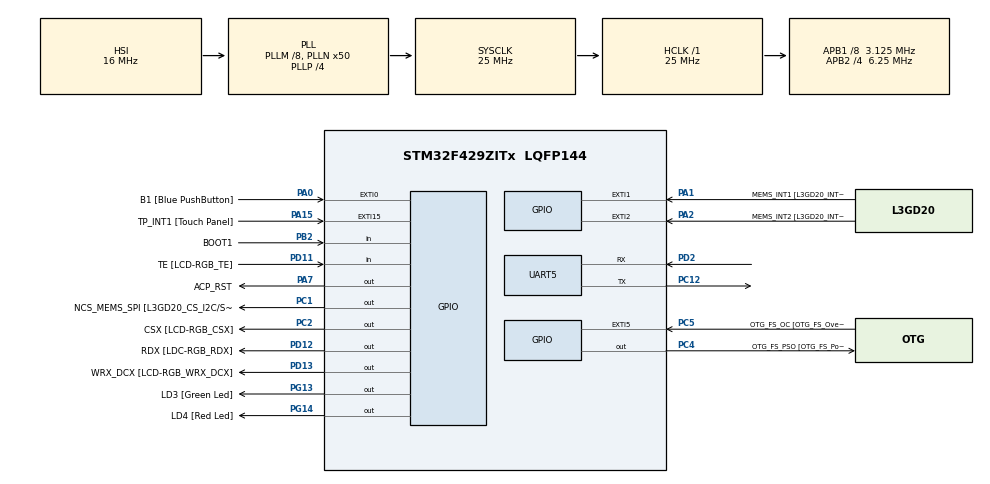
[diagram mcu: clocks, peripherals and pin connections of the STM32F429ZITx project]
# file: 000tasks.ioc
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Mcu.Family=STM32F4
Mcu.Name=STM32F429ZITx
Mcu.Package=LQFP144
NVIC.PriorityGroup=NVIC_PRIORITYGROUP_4
NVIC.TIM6_DAC_IRQn=true\:15\:0\:false\:false\:true\:false\:true\:true
NVIC.TimeBase=TIM6_DAC_IRQn
NVIC.TimeBaseIP=TIM6
NVIC.UART5_IRQn=true\:0\:0\:false\:false\:true\:true\:true\:true
PA0/WKUP.GPIO_Label=B1 [Blue PushButton]
PA0/WKUP.GPIO_ModeDefaultEXTI=GPIO_MODE_EVT_RISING
PA0/WKUP.GPIO_PuPd=GPIO_NOPULL
PA0/WKUP.Signal=GPXTI0
PA1.GPIO_Label=MEMS_INT1 [L3GD20_INT1]
PA1.GPIO_ModeDefaultEXTI=GPIO_MODE_EVT_RISING
PA1.GPIO_PuPd=GPIO_NOPULL
PA1.Signal=GPXTI1
PA10.GPIO_Label=STLINK_TX [STM32F103CBT6_PA2]
PA10.Signal=USART1_RX
PA11.GPIO_Label=R4
PA11.GPIO_Mode=GPIO_MODE_AF_PP
PA11.GPIO_PuPd=GPIO_NOPULL
PA11.GPIO_Speed=GPIO_SPEED_FREQ_LOW
PA11.Signal=LTDC_R4
PA12.GPIO_Label=R5
PA12.GPIO_Mode=GPIO_MODE_AF_PP
PA12.GPIO_PuPd=GPIO_NOPULL
PA12.GPIO_Speed=GPIO_SPEED_FREQ_LOW
PA12.Signal=LTDC_R5
PA13.GPIO_Label=SWDIO
PA13.Signal=SYS_JTMS-SWDIO
PA14.GPIO_Label=SWCLK
PA14.Signal=SYS_JTCK-SWCLK
PA15.GPIO_Label=TP_INT1 [Touch Panel]
PA15.GPIO_ModeDefaultEXTI=GPIO_MODE_EVT_RISING
PA15.GPIO_PuPd=GPIO_NOPULL
PA15.Signal=GPXTI15
PA2.GPIO_Label=MEMS_INT2 [L3GD20_INT2]
PA2.GPIO_ModeDefaultEXTI=GPIO_MODE_EVT_RISING
PA2.GPIO_PuPd=GPIO_NOPULL
PA2.Signal=GPXTI2
PA3.GPIO_Label=B5
PA3.GPIO_Mode=GPIO_MODE_AF_PP
PA3.GPIO_PuPd=GPIO_NOPULL
PA3.GPIO_Speed=GPIO_SPEED_FREQ_LOW
PA3.Signal=LTDC_B5
PA4.GPIO_Label=VSYNC
PA4.GPIO_Mode=GPIO_MODE_AF_PP
PA4.GPIO_PuPd=GPIO_NOPULL
PA4.GPIO_Speed=GPIO_SPEED_FREQ_LOW
PA4.Signal=LTDC_VSYNC
PA6.GPIO_Label=G2
PA6.GPIO_Mode=GPIO_MODE_AF_PP
PA6.GPIO_PuPd=GPIO_NOPULL
PA6.GPIO_Speed=GPIO_SPEED_FREQ_LOW
PA6.Signal=LTDC_G2
PA7.GPIO_Label=ACP_RST
PA7.GPIO_Mode=GPIO_MODE_OUTPUT_PP
PA7.GPIO_PuPd=GPIO_NOPULL
PA7.GPIO_Speed=GPIO_SPEED_FREQ_LOW
PA7.Signal=GPIO_Output
PA8.GPIO_Label=I2C3_SCL [ACP/RF_SCL]
PA8.GPIO_Mode=GPIO_MODE_AF_OD
PA8.GPIO_PuPd=GPIO_NOPULL
PA8.GPIO_Speed=GPIO_SPEED_FREQ_LOW
PA8.Signal=I2C3_SCL
PA9.GPIO_Label=STLINK_RX [STM32F103CBT6_PA3]
PA9.Signal=USART1_TX
PB0.GPIO_Label=R3
PB0.GPIO_Mode=GPIO_MODE_AF_PP
PB0.GPIO_PuPd=GPIO_NOPULL
PB0.GPIO_Speed=GPIO_SPEED_FREQ_LOW
PB0.Signal=LTDC_R3
PB1.GPIO_Label=R6
PB1.GPIO_Mode=GPIO_MODE_AF_PP
PB1.GPIO_PuPd=GPIO_NOPULL
PB1.GPIO_Speed=GPIO_SPEED_FREQ_LOW
PB1.Signal=LTDC_R6
PB10.GPIO_Label=G4
PB10.GPIO_Mode=GPIO_MODE_AF_PP
PB10.GPIO_PuPd=GPIO_NOPULL
PB10.GPIO_Speed=GPIO_SPEED_FREQ_LOW
PB10.Signal=LTDC_G4
PB11.GPIO_Label=G5
PB11.GPIO_Mode=GPIO_MODE_AF_PP
PB11.GPIO_PuPd=GPIO_NOPULL
PB11.GPIO_Speed=GPIO_SPEED_FREQ_LOW
PB11.Signal=LTDC_G5
PB12.GPIO_Label=OTG_HS_ID
PB12.GPIO_Mode=GPIO_MODE_AF_PP
PB12.GPIO_PuPd=GPIO_NOPULL
PB12.GPIO_Speed=GPIO_SPEED_FREQ_LOW
PB12.Signal=USB_OTG_HS_ID
PB13.GPIO_Label=VBUS_HS
PB13.GPIO_Mode=GPIO_MODE_INPUT
PB13.GPIO_PuPd=GPIO_NOPULL
PB13.Signal=USB_OTG_HS_VBUS
PB14.GPIO_Label=OTG_HS_DM
PB14.GPIO_Mode=GPIO_MODE_AF_PP
PB14.GPIO_PuPd=GPIO_NOPULL
PB14.GPIO_Speed=GPIO_SPEED_FREQ_LOW
PB14.Signal=USB_OTG_HS_DM
PB15.GPIO_Label=OTG_HS_DP
PB15.GPIO_Mode=GPIO_MODE_AF_PP
PB15.GPIO_PuPd=GPIO_NOPULL
PB15.GPIO_Speed=GPIO_SPEED_FREQ_LOW
PB15.Signal=USB_OTG_HS_DP
PB2/BOOT1.GPIO_Label=BOOT1
PB2/BOOT1.GPIO_Mode=GPIO_MODE_INPUT
PB2/BOOT1.GPIO_PuPd=GPIO_NOPULL
PB2/BOOT1.Signal=GPIO_Input
PB5.GPIO_Label=SDCKE1
PB5.GPIO_Mode=GPIO_MODE_AF_PP
PB5.GPIO_PuPd=GPIO_NOPULL
PB5.GPIO_Speed=GPIO_SPEED_FREQ_VERY_HIGH
PB5.Signal=FMC_SDCKE1
PB6.GPIO_Label=SDNE1 [SDRAM_CS]
PB6.GPIO_Mode=GPIO_MODE_AF_PP
PB6.GPIO_PuPd=GPIO_NOPULL
PB6.GPIO_Speed=GPIO_SPEED_FREQ_VERY_HIGH
PB6.Signal=FMC_SDNE1
PB8.GPIO_Label=B6
PB8.GPIO_Mode=GPIO_MODE_AF_PP
PB8.GPIO_PuPd=GPIO_NOPULL
PB8.GPIO_Speed=GPIO_SPEED_FREQ_LOW
PB8.Signal=LTDC_B6
PB9.GPIO_Label=B7
PB9.GPIO_Mode=GPIO_MODE_AF_PP
PB9.GPIO_PuPd=GPIO_NOPULL
PB9.GPIO_Speed=GPIO_SPEED_FREQ_LOW
PB9.Signal=LTDC_B7
PC0.GPIO_Label=SDNWE
PC0.GPIO_Mode=GPIO_MODE_AF_PP
PC0.GPIO_PuPd=GPIO_NOPULL
PC0.GPIO_Speed=GPIO_SPEED_FREQ_VERY_HIGH
PC0.Signal=FMC_SDNWE
PC1.GPIO_Label=NCS_MEMS_SPI [L3GD20_CS_I2C/SPI]
PC1.GPIO_Mode=GPIO_MODE_OUTPUT_PP
PC1.GPIO_PuPd=GPIO_NOPULL
PC1.GPIO_Speed=GPIO_SPEED_FREQ_LOW
PC1.Signal=GPIO_Output
PC10.GPIO_Label=R2
PC10.GPIO_Mode=GPIO_MODE_AF_PP
PC10.GPIO_PuPd=GPIO_NOPULL
PC10.GPIO_Speed=GPIO_SPEED_FREQ_LOW
PC10.Signal=LTDC_R2
PC12.Mode=Asynchronous
PC12.Signal=UART5_TX
PC14/OSC32_IN.GPIO_Label=PC14-OSC32_IN
PC14/OSC32_IN.Signal=RCC_OSC32_IN
PC15/OSC32_OUT.GPIO_Label=PC15-OSC32_OUT
PC15/OSC32_OUT.Signal=RCC_OSC32_OUT
PC2.GPIO_Label=CSX [LCD-RGB_CSX]
PC2.GPIO_Mode=GPIO_MODE_OUTPUT_PP
PC2.GPIO_PuPd=GPIO_NOPULL
PC2.GPIO_Speed=GPIO_SPEED_FREQ_LOW
PC2.Signal=GPIO_Output
PC4.GPIO_Label=OTG_FS_PSO [OTG_FS_PowerSwitchOn]
PC4.GPIO_Mode=GPIO_MODE_OUTPUT_PP
PC4.GPIO_PuPd=GPIO_NOPULL
PC4.GPIO_Speed=GPIO_SPEED_FREQ_LOW
PC4.Signal=GPIO_Output
PC5.GPIO_Label=OTG_FS_OC [OTG_FS_OverCurrent]
PC5.GPIO_ModeDefaultEXTI=GPIO_MODE_EVT_RISING
PC5.Signal=GPXTI5
PC6.GPIO_Label=HSYNC
PC6.GPIO_Mode=GPIO_MODE_AF_PP
PC6.GPIO_PuPd=GPIO_NOPULL
PC6.GPIO_Speed=GPIO_SPEED_FREQ_LOW
PC6.Signal=LTDC_HSYNC
PC7.GPIO_Label=G6
PC7.GPIO_Mode=GPIO_MODE_AF_PP
PC7.GPIO_PuPd=GPIO_NOPULL
PC7.GPIO_Speed=GPIO_SPEED_FREQ_LOW
PC7.Signal=LTDC_G6
PC9.GPIO_Label=I2C3_SDA [ACP/RF_SDA]
PC9.GPIO_Mode=GPIO_MODE_AF_OD
PC9.GPIO_PuPd=GPIO_NOPULL
PC9.GPIO_Speed=GPIO_SPEED_FREQ_LOW
PC9.Signal=I2C3_SDA
PD0.GPIO_Label=D2
PD0.GPIO_Mode=GPIO_MODE_AF_PP
PD0.GPIO_PuPd=GPIO_NOPULL
PD0.GPIO_Speed=GPIO_SPEED_FREQ_VERY_HIGH
PD0.Signal=FMC_D2_DA2
PD1.GPIO_Label=D3
PD1.GPIO_Mode=GPIO_MODE_AF_PP
PD1.GPIO_PuPd=GPIO_NOPULL
PD1.GPIO_Speed=GPIO_SPEED_FREQ_VERY_HIGH
PD1.Signal=FMC_D3_DA3
PD10.GPIO_Label=D15
PD10.GPIO_Mode=GPIO_MODE_AF_PP
PD10.GPIO_PuPd=GPIO_NOPULL
PD10.GPIO_Speed=GPIO_SPEED_FREQ_VERY_HIGH
PD10.Signal=FMC_D15_DA15
PD11.GPIO_Label=TE [LCD-RGB_TE]
PD11.GPIO_Mode=GPIO_MODE_INPUT
PD11.GPIO_PuPd=GPIO_NOPULL
PD11.Signal=GPIO_Input
PD12.GPIO_Label=RDX [LDC-RGB_RDX]
PD12.GPIO_Mode=GPIO_MODE_OUTPUT_PP
PD12.GPIO_PuPd=GPIO_NOPULL
PD12.GPIO_Speed=GPIO_SPEED_FREQ_LOW
PD12.Signal=GPIO_Output
PD13.GPIO_Label=WRX_DCX [LCD-RGB_WRX_DCX]
PD13.GPIO_Mode=GPIO_MODE_OUTPUT_PP
PD13.GPIO_PuPd=GPIO_NOPULL
PD13.GPIO_Speed=GPIO_SPEED_FREQ_LOW
PD13.Signal=GPIO_Output
PD14.GPIO_Label=D0
PD14.GPIO_Mode=GPIO_MODE_AF_PP
PD14.GPIO_PuPd=GPIO_NOPULL
PD14.GPIO_Speed=GPIO_SPEED_FREQ_VERY_HIGH
PD14.Signal=FMC_D0_DA0
PD15.GPIO_Label=D1
PD15.GPIO_Mode=GPIO_MODE_AF_PP
PD15.GPIO_PuPd=GPIO_NOPULL
PD15.GPIO_Speed=GPIO_SPEED_FREQ_VERY_HIGH
PD15.Signal=FMC_D1_DA1
PD2.Mode=Asynchronous
PD2.Signal=UART5_RX
PD3.GPIO_Label=G7
PD3.GPIO_Mode=GPIO_MODE_AF_PP
PD3.GPIO_PuPd=GPIO_NOPULL
PD3.GPIO_Speed=GPIO_SPEED_FREQ_LOW
PD3.Signal=LTDC_G7
PD6.GPIO_Label=B2
PD6.GPIO_Mode=GPIO_MODE_AF_PP
PD6.GPIO_PuPd=GPIO_NOPULL
PD6.GPIO_Speed=GPIO_SPEED_FREQ_LOW
PD6.Signal=LTDC_B2
PD8.GPIO_Label=D13
PD8.GPIO_Mode=GPIO_MODE_AF_PP
PD8.GPIO_PuPd=GPIO_NOPULL
PD8.GPIO_Speed=GPIO_SPEED_FREQ_VERY_HIGH
PD8.Signal=FMC_D13_DA13
PD9.GPIO_Label=D14
PD9.GPIO_Mode=GPIO_MODE_AF_PP
PD9.GPIO_PuPd=GPIO_NOPULL
PD9.GPIO_Speed=GPIO_SPEED_FREQ_VERY_HIGH
PD9.Signal=FMC_D14_DA14
PE0.GPIO_Label=NBL0 [SDRAM_LDQM]
PE0.GPIO_Mode=GPIO_MODE_AF_PP
PE0.GPIO_PuPd=GPIO_NOPULL
PE0.GPIO_Speed=GPIO_SPEED_FREQ_VERY_HIGH
PE0.Signal=FMC_NBL0
PE1.GPIO_Label=NBL1 [SDRAM_UDQM]
PE1.GPIO_Mode=GPIO_MODE_AF_PP
PE1.GPIO_PuPd=GPIO_NOPULL
PE1.GPIO_Speed=GPIO_SPEED_FREQ_VERY_HIGH
PE1.Signal=FMC_NBL1
PE10.GPIO_Label=D7
PE10.GPIO_Mode=GPIO_MODE_AF_PP
PE10.GPIO_PuPd=GPIO_NOPULL
PE10.GPIO_Speed=GPIO_SPEED_FREQ_VERY_HIGH
PE10.Signal=FMC_D7_DA7
PE11.GPIO_Label=D8
PE11.GPIO_Mode=GPIO_MODE_AF_PP
PE11.GPIO_PuPd=GPIO_NOPULL
PE11.GPIO_Speed=GPIO_SPEED_FREQ_VERY_HIGH
PE11.Signal=FMC_D8_DA8
PE12.GPIO_Label=D9
PE12.GPIO_Mode=GPIO_MODE_AF_PP
PE12.GPIO_PuPd=GPIO_NOPULL
PE12.GPIO_Speed=GPIO_SPEED_FREQ_VERY_HIGH
PE12.Signal=FMC_D9_DA9
PE13.GPIO_Label=D10
PE13.GPIO_Mode=GPIO_MODE_AF_PP
PE13.GPIO_PuPd=GPIO_NOPULL
PE13.GPIO_Speed=GPIO_SPEED_FREQ_VERY_HIGH
PE13.Signal=FMC_D10_DA10
PE14.GPIO_Label=D11
PE14.GPIO_Mode=GPIO_MODE_AF_PP
PE14.GPIO_PuPd=GPIO_NOPULL
PE14.GPIO_Speed=GPIO_SPEED_FREQ_VERY_HIGH
PE14.Signal=FMC_D11_DA11
PE15.GPIO_Label=D12
PE15.GPIO_Mode=GPIO_MODE_AF_PP
PE15.GPIO_PuPd=GPIO_NOPULL
PE15.GPIO_Speed=GPIO_SPEED_FREQ_VERY_HIGH
PE15.Signal=FMC_D12_DA12
PE7.GPIO_Label=D4
PE7.GPIO_Mode=GPIO_MODE_AF_PP
PE7.GPIO_PuPd=GPIO_NOPULL
PE7.GPIO_Speed=GPIO_SPEED_FREQ_VERY_HIGH
PE7.Signal=FMC_D4_DA4
PE8.GPIO_Label=D5
PE8.GPIO_Mode=GPIO_MODE_AF_PP
PE8.GPIO_PuPd=GPIO_NOPULL
PE8.GPIO_Speed=GPIO_SPEED_FREQ_VERY_HIGH
PE8.Signal=FMC_D5_DA5
PE9.GPIO_Label=D6
PE9.GPIO_Mode=GPIO_MODE_AF_PP
PE9.GPIO_PuPd=GPIO_NOPULL
PE9.GPIO_Speed=GPIO_SPEED_FREQ_VERY_HIGH
PE9.Signal=FMC_D6_DA6
PF0.GPIO_Label=A0
PF0.GPIO_Mode=GPIO_MODE_AF_PP
PF0.GPIO_PuPd=GPIO_NOPULL
PF0.GPIO_Speed=GPIO_SPEED_FREQ_VERY_HIGH
PF0.Signal=FMC_A0
PF1.GPIO_Label=A1
PF1.GPIO_Mode=GPIO_MODE_AF_PP
PF1.GPIO_PuPd=GPIO_NOPULL
PF1.GPIO_Speed=GPIO_SPEED_FREQ_VERY_HIGH
PF1.Signal=FMC_A1
PF10.GPIO_Label=ENABLE [LCD-RGB_ENABLE]
PF10.GPIO_Mode=GPIO_MODE_AF_PP
PF10.GPIO_PuPd=GPIO_NOPULL
PF10.GPIO_Speed=GPIO_SPEED_FREQ_LOW
PF10.Signal=LTDC_DE
PF11.GPIO_Label=SDNRAS
PF11.GPIO_Mode=GPIO_MODE_AF_PP
PF11.GPIO_PuPd=GPIO_NOPULL
PF11.GPIO_Speed=GPIO_SPEED_FREQ_VERY_HIGH
PF11.Signal=FMC_SDNRAS
PF12.GPIO_Label=A6
PF12.GPIO_Mode=GPIO_MODE_AF_PP
PF12.GPIO_PuPd=GPIO_NOPULL
PF12.GPIO_Speed=GPIO_SPEED_FREQ_VERY_HIGH
PF12.Signal=FMC_A6
PF13.GPIO_Label=A7
PF13.GPIO_Mode=GPIO_MODE_AF_PP
PF13.GPIO_PuPd=GPIO_NOPULL
PF13.GPIO_Speed=GPIO_SPEED_FREQ_VERY_HIGH
PF13.Signal=FMC_A7
PF14.GPIO_Label=A8
PF14.GPIO_Mode=GPIO_MODE_AF_PP
PF14.GPIO_PuPd=GPIO_NOPULL
PF14.GPIO_Speed=GPIO_SPEED_FREQ_VERY_HIGH
PF14.Signal=FMC_A8
PF15.GPIO_Label=A9
PF15.GPIO_Mode=GPIO_MODE_AF_PP
PF15.GPIO_PuPd=GPIO_NOPULL
PF15.GPIO_Speed=GPIO_SPEED_FREQ_VERY_HIGH
PF15.Signal=FMC_A9
PF2.GPIO_Label=A2
PF2.GPIO_Mode=GPIO_MODE_AF_PP
PF2.GPIO_PuPd=GPIO_NOPULL
PF2.GPIO_Speed=GPIO_SPEED_FREQ_VERY_HIGH
PF2.Signal=FMC_A2
PF3.GPIO_Label=A3
PF3.GPIO_Mode=GPIO_MODE_AF_PP
PF3.GPIO_PuPd=GPIO_NOPULL
PF3.GPIO_Speed=GPIO_SPEED_FREQ_VERY_HIGH
PF3.Signal=FMC_A3
PF4.GPIO_Label=A4
PF4.GPIO_Mode=GPIO_MODE_AF_PP
PF4.GPIO_PuPd=GPIO_NOPULL
PF4.GPIO_Speed=GPIO_SPEED_FREQ_VERY_HIGH
PF4.Signal=FMC_A4
PF5.GPIO_Label=A5
PF5.GPIO_Mode=GPIO_MODE_AF_PP
PF5.GPIO_PuPd=GPIO_NOPULL
PF5.GPIO_Speed=GPIO_SPEED_FREQ_VERY_HIGH
PF5.Signal=FMC_A5
PF7.GPIO_Label=SPI5_SCK [L3GD20_SCL/SPC]
PF7.GPIO_Mode=GPIO_MODE_AF_PP
PF7.GPIO_PuPd=GPIO_NOPULL
PF7.GPIO_Speed=GPIO_SPEED_FREQ_LOW
PF7.Signal=SPI5_SCK
PF8.GPIO_Label=SPI5_MISO [L3GD20_SDO]
PF8.GPIO_Mode=GPIO_MODE_AF_PP
PF8.GPIO_PuPd=GPIO_NOPULL
PF8.GPIO_Speed=GPIO_SPEED_FREQ_LOW
PF8.Signal=SPI5_MISO
PF9.GPIO_Label=SPI5_MOSI [L3GD20_SDA/SDI/SDO]
PF9.GPIO_Mode=GPIO_MODE_AF_PP
PF9.GPIO_PuPd=GPIO_NOPULL
PF9.GPIO_Speed=GPIO_SPEED_FREQ_LOW
PF9.Signal=SPI5_MOSI
PG0.GPIO_Label=A10
PG0.GPIO_Mode=GPIO_MODE_AF_PP
PG0.GPIO_PuPd=GPIO_NOPULL
PG0.GPIO_Speed=GPIO_SPEED_FREQ_VERY_HIGH
PG0.Signal=FMC_A10
PG1.GPIO_Label=A11
PG1.GPIO_Mode=GPIO_MODE_AF_PP
PG1.GPIO_PuPd=GPIO_NOPULL
PG1.GPIO_Speed=GPIO_SPEED_FREQ_VERY_HIGH
PG1.Signal=FMC_A11
PG10.GPIO_Label=G3
PG10.GPIO_Mode=GPIO_MODE_AF_PP
PG10.GPIO_PuPd=GPIO_NOPULL
PG10.GPIO_Speed=GPIO_SPEED_FREQ_LOW
PG10.Signal=LTDC_G3
PG11.GPIO_Label=B3
PG11.GPIO_Mode=GPIO_MODE_AF_PP
PG11.GPIO_PuPd=GPIO_NOPULL
PG11.GPIO_Speed=GPIO_SPEED_FREQ_LOW
PG11.Signal=LTDC_B3
PG12.GPIO_Label=B4
PG12.GPIO_Mode=GPIO_MODE_AF_PP
PG12.GPIO_PuPd=GPIO_NOPULL
PG12.GPIO_Speed=GPIO_SPEED_FREQ_LOW
PG12.Signal=LTDC_B4
PG13.GPIO_Label=LD3 [Green Led]
PG13.GPIO_Mode=GPIO_MODE_OUTPUT_PP
PG13.GPIO_PuPd=GPIO_NOPULL
PG13.GPIO_Speed=GPIO_SPEED_FREQ_LOW
PG13.Signal=GPIO_Output
PG14.GPIO_Label=LD4 [Red Led]
PG14.GPIO_Mode=GPIO_MODE_OUTPUT_PP
PG14.GPIO_PuPd=GPIO_NOPULL
PG14.GPIO_Speed=GPIO_SPEED_FREQ_LOW
PG14.Signal=GPIO_Output
PG15.GPIO_Label=SDNCAS
PG15.GPIO_Mode=GPIO_MODE_AF_PP
PG15.GPIO_PuPd=GPIO_NOPULL
PG15.GPIO_Speed=GPIO_SPEED_FREQ_VERY_HIGH
PG15.Signal=FMC_SDNCAS
PG4.GPIO_Label=BA0
PG4.GPIO_Mode=GPIO_MODE_AF_PP
PG4.GPIO_PuPd=GPIO_NOPULL
PG4.GPIO_Speed=GPIO_SPEED_FREQ_VERY_HIGH
PG4.Signal=FMC_A14_BA0
PG5.GPIO_Label=BA1
PG5.GPIO_Mode=GPIO_MODE_AF_PP
PG5.GPIO_PuPd=GPIO_NOPULL
PG5.GPIO_Speed=GPIO_SPEED_FREQ_VERY_HIGH
PG5.Signal=FMC_A15_BA1
PG6.GPIO_Label=R7
PG6.GPIO_Mode=GPIO_MODE_AF_PP
PG6.GPIO_PuPd=GPIO_NOPULL
PG6.GPIO_Speed=GPIO_SPEED_FREQ_LOW
PG6.Signal=LTDC_R7
PG7.GPIO_Label=DOTCLK [LCT-RGB_DOTCLK]
PG7.GPIO_Mode=GPIO_MODE_AF_PP
PG7.GPIO_PuPd=GPIO_NOPULL
PG7.GPIO_Speed=GPIO_SPEED_FREQ_LOW
PG7.Signal=LTDC_CLK
PG8.GPIO_Label=SDCLK
PG8.GPIO_Mode=GPIO_MODE_AF_PP
PG8.GPIO_PuPd=GPIO_NOPULL
PG8.GPIO_Speed=GPIO_SPEED_FREQ_VERY_HIGH
PG8.Signal=FMC_SDCLK
PH0/OSC_IN.GPIO_Label=PH0-OSC_IN
PH0/OSC_IN.Signal=RCC_OSC_IN
PH1/OSC_OUT.GPIO_Label=PH1-OSC_OUT
PH1/OSC_OUT.Signal=RCC_OSC_OUT
ProjectManager.HeapSize=0x200
ProjectManager.StackSize=0x400
ProjectManager.TargetToolchain=STM32CubeIDE
RCC.48MHZClocksFreq_Value=14285714.285714285
RCC.AHBFreq_Value=25000000
RCC.APB1CLKDivider=RCC_HCLK_DIV8
RCC.APB1Freq_Value=3125000
RCC.APB1TimFreq_Value=6250000
RCC.APB2CLKDivider=RCC_HCLK_DIV4
RCC.APB2Freq_Value=6250000
RCC.APB2TimFreq_Value=12500000
RCC.CortexFreq_Value=25000000
RCC.HCLKFreq_Value=25000000
RCC.HSE_VALUE=8000000
RCC.HSI_VALUE=16000000
RCC.LSE_VALUE=32768
RCC.PLLM=8
RCC.PLLN=50
RCC.PLLP=RCC_PLLP_DIV4
RCC.PLLQ=7
RCC.SYSCLKFreq_VALUE=25000000
RCC.SYSCLKSource=RCC_SYSCLKSOURCE_PLLCLK
RCC.VCOOutputFreq_Value=100000000
SH.FMC_A0.0=FMC_A0
SH.FMC_A1.0=FMC_A1
SH.FMC_A10.0=FMC_A10
SH.FMC_A11.0=FMC_A11
SH.FMC_A14_BA0.0=FMC_BA0
SH.FMC_A15_BA1.0=FMC_BA1
SH.FMC_A2.0=FMC_A2
SH.FMC_A3.0=FMC_A3
SH.FMC_A4.0=FMC_A4
SH.FMC_A5.0=FMC_A5
SH.FMC_A6.0=FMC_A6
SH.FMC_A7.0=FMC_A7
SH.FMC_A8.0=FMC_A8
SH.FMC_A9.0=FMC_A9
SH.FMC_D0_DA0.0=FMC_D0
SH.FMC_D10_DA10.0=FMC_D10
SH.FMC_D11_DA11.0=FMC_D11
SH.FMC_D12_DA12.0=FMC_D12
SH.FMC_D13_DA13.0=FMC_D13
SH.FMC_D14_DA14.0=FMC_D14
SH.FMC_D15_DA15.0=FMC_D15
SH.FMC_D1_DA1.0=FMC_D1
SH.FMC_D2_DA2.0=FMC_D2
SH.FMC_D3_DA3.0=FMC_D3
SH.FMC_D4_DA4.0=FMC_D4
SH.FMC_D5_DA5.0=FMC_D5
SH.FMC_D6_DA6.0=FMC_D6
SH.FMC_D7_DA7.0=FMC_D7
SH.FMC_D8_DA8.0=FMC_D8
SH.FMC_D9_DA9.0=FMC_D9
SH.FMC_NBL0.0=FMC_NBL0
SH.FMC_NBL1.0=FMC_NBL1
SH.FMC_SDCLK.0=FMC_SDCLK
SH.FMC_SDNCAS.0=FMC_SDNCAS
SH.FMC_SDNRAS.0=FMC_SDNRAS
SH.FMC_SDNWE.0=FMC_SDNWE
UART5.VirtualMode=Asynchronous
VP_SYS_VS_tim6.Mode=TIM6
board=STM32F429I-DISC1

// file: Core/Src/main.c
/* USER CODE BEGIN Header */
/**
  ******************************************************************************
  * @file           : main.c
  * @brief          : Main program body
  ******************************************************************************
  * @attention
  *
  * Copyright (c) 2025 STMicroelectronics.
  * All rights reserved.
  *
  * This software is licensed under terms that can be found in the LICENSE file
  * in the root directory of this software component.
  * If no LICENSE file comes with this software, it is provided AS-IS.
  *
  ******************************************************************************
  */
/* USER CODE END Header */
#include "main.h"

/* USER CODE BEGIN Includes */
#include "stdio.h"
#include "FreeRTOS.h"
#include "task.h"
/* USER CODE END Includes */

UART_HandleTypeDef huart5;

void SystemClock_Config(void);
static void MX_GPIO_Init(void);
static void MX_UART5_Init(void);

/* USER CODE BEGIN 0 */

int __io_putchar(int ch)
{
    /* Support printf over UART */
    (void)HAL_UART_Transmit(&huart5, (uint8_t*)&ch, 1, 0xFFFFU);
    return ch;
}

void green_led_task( void * args )
{
    for( ;; )
    {
    	printf("In green_led_task\r\n");
    	 HAL_GPIO_TogglePin(GPIOG, GPIO_PIN_13);

		// Delay for 500 milliseconds (0.5 seconds)
		HAL_Delay(500);
    }
    vTaskDelete( NULL ); // Delete if task ever exits
}

void red_led_task( void * args )
{
    for( ;; )
    {
    	printf("In red_led_task\r\n");
    	 HAL_GPIO_TogglePin(GPIOG,  GPIO_PIN_14);

		// Delay for 500 milliseconds (0.5 seconds)
		HAL_Delay(250);
    }
    vTaskDelete( NULL ); // Delete if task ever exits
}
/* USER CODE END 0 */

int main(void)
{

  /* MCU Configuration--------------------------------------------------------*/

  /* Reset of all peripherals, Initializes the Flash interface and the Systick. */
  HAL_Init();

  /* Configure the system clock */
  SystemClock_Config();

  /* Initialize all configured peripherals */
  MX_GPIO_Init();
  MX_UART5_Init();
  /* USER CODE BEGIN 2 */
  TaskHandle_t redLedHandle = NULL;
  TaskHandle_t greenLedHandle = NULL;
  BaseType_t status;

  status = xTaskCreate(
		  green_led_task,        /* Function implementing the task */
          "green-led-task",           /* Text name for debugging */
          200,       /* Stack size in words */
          NULL,             /* Parameter passed */
          2,
		  //tskIDLE_PRIORITY + 1, /* Priority */
          &greenLedHandle );
  status = xTaskCreate(
  		  red_led_task,        /* Function implementing the task */
            "red-led-task",           /* Text name for debugging */
            200,       /* Stack size in words */
            NULL,             /* Parameter passed */
            2,
			//tskIDLE_PRIORITY + 1, /* Priority */
            &redLedHandle );

  //start the freeRTOS scheduler
    vTaskStartScheduler();

  /* USER CODE END 2 */

  /* Infinite loop */
  /* USER CODE BEGIN WHILE */
  while (1)
  {
	  // Toggle the LED state (ON to OFF, or OFF to ON)
	  HAL_GPIO_TogglePin(GPIOG, GPIO_PIN_13 | GPIO_PIN_14);

	    // Delay for 500 milliseconds (0.5 seconds)
	    HAL_Delay(500);
    /* USER CODE END WHILE */

  }
}

void SystemClock_Config(void)
{
  RCC_OscInitTypeDef RCC_OscInitStruct = {0};
  RCC_ClkInitTypeDef RCC_ClkInitStruct = {0};

  /** Configure the main internal regulator output voltage
  */
  __HAL_RCC_PWR_CLK_ENABLE();
  __HAL_PWR_VOLTAGESCALING_CONFIG(PWR_REGULATOR_VOLTAGE_SCALE3);

  /** Initializes the RCC Oscillators according to the specified parameters
  * in the RCC_OscInitTypeDef structure.
  */
  RCC_OscInitStruct.OscillatorType = RCC_OSCILLATORTYPE_HSI;
  RCC_OscInitStruct.HSIState = RCC_HSI_ON;
  RCC_OscInitStruct.HSICalibrationValue = RCC_HSICALIBRATION_DEFAULT;
  RCC_OscInitStruct.PLL.PLLState = RCC_PLL_ON;
  RCC_OscInitStruct.PLL.PLLSource = RCC_PLLSOURCE_HSI;
  RCC_OscInitStruct.PLL.PLLM = 8;
  RCC_OscInitStruct.PLL.PLLN = 50;
  RCC_OscInitStruct.PLL.PLLP = RCC_PLLP_DIV4;
  RCC_OscInitStruct.PLL.PLLQ = 7;
  if (HAL_RCC_OscConfig(&RCC_OscInitStruct) != HAL_OK)
  {
    Error_Handler();
  }

  /** Initializes the CPU, AHB and APB buses clocks
  */
  RCC_ClkInitStruct.ClockType = RCC_CLOCKTYPE_HCLK|RCC_CLOCKTYPE_SYSCLK
                              |RCC_CLOCKTYPE_PCLK1|RCC_CLOCKTYPE_PCLK2;
  RCC_ClkInitStruct.SYSCLKSource = RCC_SYSCLKSOURCE_PLLCLK;
  RCC_ClkInitStruct.AHBCLKDivider = RCC_SYSCLK_DIV1;
  RCC_ClkInitStruct.APB1CLKDivider = RCC_HCLK_DIV8;
  RCC_ClkInitStruct.APB2CLKDivider = RCC_HCLK_DIV4;

  if (HAL_RCC_ClockConfig(&RCC_ClkInitStruct, FLASH_LATENCY_0) != HAL_OK)
  {
    Error_Handler();
  }
}

static void MX_UART5_Init(void)
{

  huart5.Instance = UART5;
  huart5.Init.BaudRate = 115200;
  huart5.Init.WordLength = UART_WORDLENGTH_8B;
  huart5.Init.StopBits = UART_STOPBITS_1;
  huart5.Init.Parity = UART_PARITY_NONE;
  huart5.Init.Mode = UART_MODE_TX_RX;
  huart5.Init.HwFlowCtl = UART_HWCONTROL_NONE;
  huart5.Init.OverSampling = UART_OVERSAMPLING_16;
  if (HAL_UART_Init(&huart5) != HAL_OK)
  {
    Error_Handler();
  }

}

static void MX_GPIO_Init(void)
{
  GPIO_InitTypeDef GPIO_InitStruct = {0};

  /* GPIO Ports Clock Enable */
  __HAL_RCC_GPIOC_CLK_ENABLE();
  __HAL_RCC_GPIOF_CLK_ENABLE();
  __HAL_RCC_GPIOH_CLK_ENABLE();
  __HAL_RCC_GPIOA_CLK_ENABLE();
  __HAL_RCC_GPIOB_CLK_ENABLE();
  __HAL_RCC_GPIOG_CLK_ENABLE();
  __HAL_RCC_GPIOE_CLK_ENABLE();
  __HAL_RCC_GPIOD_CLK_ENABLE();

  /*Configure GPIO pin Output Level */
  HAL_GPIO_WritePin(GPIOC, NCS_MEMS_SPI_Pin|CSX_Pin|OTG_FS_PSO_Pin, GPIO_PIN_RESET);

  /*Configure GPIO pin Output Level */
  HAL_GPIO_WritePin(ACP_RST_GPIO_Port, ACP_RST_Pin, GPIO_PIN_RESET);

  /*Configure GPIO pin Output Level */
  HAL_GPIO_WritePin(GPIOD, RDX_Pin|WRX_DCX_Pin, GPIO_PIN_RESET);

  /*Configure GPIO pin Output Level */
  HAL_GPIO_WritePin(GPIOG, LD3_Pin|LD4_Pin, GPIO_PIN_RESET);

  /*Configure GPIO pins : A0_Pin A1_Pin A2_Pin A3_Pin
                           A4_Pin A5_Pin SDNRAS_Pin A6_Pin
                           A7_Pin A8_Pin A9_Pin */
  GPIO_InitStruct.Pin = A0_Pin|A1_Pin|A2_Pin|A3_Pin
                          |A4_Pin|A5_Pin|SDNRAS_Pin|A6_Pin
                          |A7_Pin|A8_Pin|A9_Pin;
  GPIO_InitStruct.Mode = GPIO_MODE_AF_PP;
  GPIO_InitStruct.Pull = GPIO_NOPULL;
  GPIO_InitStruct.Speed = GPIO_SPEED_FREQ_VERY_HIGH;
  GPIO_InitStruct.Alternate = GPIO_AF12_FMC;
  HAL_GPIO_Init(GPIOF, &GPIO_InitStruct);

  /*Configure GPIO pins : SPI5_SCK_Pin SPI5_MISO_Pin SPI5_MOSI_Pin */
  GPIO_InitStruct.Pin = SPI5_SCK_Pin|SPI5_MISO_Pin|SPI5_MOSI_Pin;
  GPIO_InitStruct.Mode = GPIO_MODE_AF_PP;
  GPIO_InitStruct.Pull = GPIO_NOPULL;
  GPIO_InitStruct.Speed = GPIO_SPEED_FREQ_LOW;
  GPIO_InitStruct.Alternate = GPIO_AF5_SPI5;
  HAL_GPIO_Init(GPIOF, &GPIO_InitStruct);

  /*Configure GPIO pin : ENABLE_Pin */
  GPIO_InitStruct.Pin = ENABLE_Pin;
  GPIO_InitStruct.Mode = GPIO_MODE_AF_PP;
  GPIO_InitStruct.Pull = GPIO_NOPULL;
  GPIO_InitStruct.Speed = GPIO_SPEED_FREQ_LOW;
  GPIO_InitStruct.Alternate = GPIO_AF14_LTDC;
  HAL_GPIO_Init(ENABLE_GPIO_Port, &GPIO_InitStruct);

  /*Configure GPIO pin : SDNWE_Pin */
  GPIO_InitStruct.Pin = SDNWE_Pin;
  GPIO_InitStruct.Mode = GPIO_MODE_AF_PP;
  GPIO_InitStruct.Pull = GPIO_NOPULL;
  GPIO_InitStruct.Speed = GPIO_SPEED_FREQ_VERY_HIGH;
  GPIO_InitStruct.Alternate = GPIO_AF12_FMC;
  HAL_GPIO_Init(SDNWE_GPIO_Port, &GPIO_InitStruct);

  /*Configure GPIO pins : NCS_MEMS_SPI_Pin CSX_Pin OTG_FS_PSO_Pin */
  GPIO_InitStruct.Pin = NCS_MEMS_SPI_Pin|CSX_Pin|OTG_FS_PSO_Pin;
  GPIO_InitStruct.Mode = GPIO_MODE_OUTPUT_PP;
  GPIO_InitStruct.Pull = GPIO_NOPULL;
  GPIO_InitStruct.Speed = GPIO_SPEED_FREQ_LOW;
  HAL_GPIO_Init(GPIOC, &GPIO_InitStruct);

  /*Configure GPIO pins : B1_Pin MEMS_INT1_Pin MEMS_INT2_Pin TP_INT1_Pin */
  GPIO_InitStruct.Pin = B1_Pin|MEMS_INT1_Pin|MEMS_INT2_Pin|TP_INT1_Pin;
  GPIO_InitStruct.Mode = GPIO_MODE_EVT_RISING;
  GPIO_InitStruct.Pull = GPIO_NOPULL;
  HAL_GPIO_Init(GPIOA, &GPIO_InitStruct);

  /*Configure GPIO pins : B5_Pin VSYNC_Pin G2_Pin R4_Pin
                           R5_Pin */
  GPIO_InitStruct.Pin = B5_Pin|VSYNC_Pin|G2_Pin|R4_Pin
                          |R5_Pin;
  GPIO_InitStruct.Mode = GPIO_MODE_AF_PP;
  GPIO_InitStruct.Pull = GPIO_NOPULL;
  GPIO_InitStruct.Speed = GPIO_SPEED_FREQ_LOW;
  GPIO_InitStruct.Alternate = GPIO_AF14_LTDC;
  HAL_GPIO_Init(GPIOA, &GPIO_InitStruct);

  /*Configure GPIO pin : ACP_RST_Pin */
  GPIO_InitStruct.Pin = ACP_RST_Pin;
  GPIO_InitStruct.Mode = GPIO_MODE_OUTPUT_PP;
  GPIO_InitStruct.Pull = GPIO_NOPULL;
  GPIO_InitStruct.Speed = GPIO_SPEED_FREQ_LOW;
  HAL_GPIO_Init(ACP_RST_GPIO_Port, &GPIO_InitStruct);

  /*Configure GPIO pin : OTG_FS_OC_Pin */
  GPIO_InitStruct.Pin = OTG_FS_OC_Pin;
  GPIO_InitStruct.Mode = GPIO_MODE_EVT_RISING;
  GPIO_InitStruct.Pull = GPIO_NOPULL;
  HAL_GPIO_Init(OTG_FS_OC_GPIO_Port, &GPIO_InitStruct);

  /*Configure GPIO pins : R3_Pin R6_Pin */
  GPIO_InitStruct.Pin = R3_Pin|R6_Pin;
  GPIO_InitStruct.Mode = GPIO_MODE_AF_PP;
  GPIO_InitStruct.Pull = GPIO_NOPULL;
  GPIO_InitStruct.Speed = GPIO_SPEED_FREQ_LOW;
  GPIO_InitStruct.Alternate = GPIO_AF9_LTDC;
  HAL_GPIO_Init(GPIOB, &GPIO_InitStruct);

  /*Configure GPIO pin : BOOT1_Pin */
  GPIO_InitStruct.Pin = BOOT1_Pin;
  GPIO_InitStruct.Mode = GPIO_MODE_INPUT;
  GPIO_InitStruct.Pull = GPIO_NOPULL;
  HAL_GPIO_Init(BOOT1_GPIO_Port, &GPIO_InitStruct);

  /*Configure GPIO pins : A10_Pin A11_Pin BA0_Pin BA1_Pin
                           SDCLK_Pin SDNCAS_Pin */
  GPIO_InitStruct.Pin = A10_Pin|A11_Pin|BA0_Pin|BA1_Pin
                          |SDCLK_Pin|SDNCAS_Pin;
  GPIO_InitStruct.Mode = GPIO_MODE_AF_PP;
  GPIO_InitStruct.Pull = GPIO_NOPULL;
  GPIO_InitStruct.Speed = GPIO_SPEED_FREQ_VERY_HIGH;
  GPIO_InitStruct.Alternate = GPIO_AF12_FMC;
  HAL_GPIO_Init(GPIOG, &GPIO_InitStruct);

  /*Configure GPIO pins : D4_Pin D5_Pin D6_Pin D7_Pin
                           D8_Pin D9_Pin D10_Pin D11_Pin
                           D12_Pin NBL0_Pin NBL1_Pin */
  GPIO_InitStruct.Pin = D4_Pin|D5_Pin|D6_Pin|D7_Pin
                          |D8_Pin|D9_Pin|D10_Pin|D11_Pin
                          |D12_Pin|NBL0_Pin|NBL1_Pin;
  GPIO_InitStruct.Mode = GPIO_MODE_AF_PP;
  GPIO_InitStruct.Pull = GPIO_NOPULL;
  GPIO_InitStruct.Speed = GPIO_SPEED_FREQ_VERY_HIGH;
  GPIO_InitStruct.Alternate = GPIO_AF12_FMC;
  HAL_GPIO_Init(GPIOE, &GPIO_InitStruct);

  /*Configure GPIO pins : G4_Pin G5_Pin B6_Pin B7_Pin */
  GPIO_InitStruct.Pin = G4_Pin|G5_Pin|B6_Pin|B7_Pin;
  GPIO_InitStruct.Mode = GPIO_MODE_AF_PP;
  GPIO_InitStruct.Pull = GPIO_NOPULL;
  GPIO_InitStruct.Speed = GPIO_SPEED_FREQ_LOW;
  GPIO_InitStruct.Alternate = GPIO_AF14_LTDC;
  HAL_GPIO_Init(GPIOB, &GPIO_InitStruct);

  /*Configure GPIO pins : OTG_HS_ID_Pin OTG_HS_DM_Pin OTG_HS_DP_Pin */
  GPIO_InitStruct.Pin = OTG_HS_ID_Pin|OTG_HS_DM_Pin|OTG_HS_DP_Pin;
  GPIO_InitStruct.Mode = GPIO_MODE_AF_PP;
  GPIO_InitStruct.Pull = GPIO_NOPULL;
  GPIO_InitStruct.Speed = GPIO_SPEED_FREQ_LOW;
  GPIO_InitStruct.Alternate = GPIO_AF12_OTG_HS_FS;
  HAL_GPIO_Init(GPIOB, &GPIO_InitStruct);

  /*Configure GPIO pin : VBUS_HS_Pin */
  GPIO_InitStruct.Pin = VBUS_HS_Pin;
  GPIO_InitStruct.Mode = GPIO_MODE_INPUT;
  GPIO_InitStruct.Pull = GPIO_NOPULL;
  HAL_GPIO_Init(VBUS_HS_GPIO_Port, &GPIO_InitStruct);

  /*Configure GPIO pins : D13_Pin D14_Pin D15_Pin D0_Pin
                           D1_Pin D2_Pin D3_Pin */
  GPIO_InitStruct.Pin = D13_Pin|D14_Pin|D15_Pin|D0_Pin
                          |D1_Pin|D2_Pin|D3_Pin;
  GPIO_InitStruct.Mode = GPIO_MODE_AF_PP;
  GPIO_InitStruct.Pull = GPIO_NOPULL;
  GPIO_InitStruct.Speed = GPIO_SPEED_FREQ_VERY_HIGH;
  GPIO_InitStruct.Alternate = GPIO_AF12_FMC;
  HAL_GPIO_Init(GPIOD, &GPIO_InitStruct);

  /*Configure GPIO pin : TE_Pin */
  GPIO_InitStruct.Pin = TE_Pin;
  GPIO_InitStruct.Mode = GPIO_MODE_INPUT;
  GPIO_InitStruct.Pull = GPIO_NOPULL;
  HAL_GPIO_Init(TE_GPIO_Port, &GPIO_InitStruct);

  /*Configure GPIO pins : RDX_Pin WRX_DCX_Pin */
  GPIO_InitStruct.Pin = RDX_Pin|WRX_DCX_Pin;
  GPIO_InitStruct.Mode = GPIO_MODE_OUTPUT_PP;
  GPIO_InitStruct.Pull = GPIO_NOPULL;
  GPIO_InitStruct.Speed = GPIO_SPEED_FREQ_LOW;
  HAL_GPIO_Init(GPIOD, &GPIO_InitStruct);

  /*Configure GPIO pins : R7_Pin DOTCLK_Pin B3_Pin */
  GPIO_InitStruct.Pin = R7_Pin|DOTCLK_Pin|B3_Pin;
  GPIO_InitStruct.Mode = GPIO_MODE_AF_PP;
  GPIO_InitStruct.Pull = GPIO_NOPULL;
  GPIO_InitStruct.Speed = GPIO_SPEED_FREQ_LOW;
  GPIO_InitStruct.Alternate = GPIO_AF14_LTDC;
  HAL_GPIO_Init(GPIOG, &GPIO_InitStruct);

  /*Configure GPIO pins : HSYNC_Pin G6_Pin R2_Pin */
  GPIO_InitStruct.Pin = HSYNC_Pin|G6_Pin|R2_Pin;
  GPIO_InitStruct.Mode = GPIO_MODE_AF_PP;
  GPIO_InitStruct.Pull = GPIO_NOPULL;
  GPIO_InitStruct.Speed = GPIO_SPEED_FREQ_LOW;
  GPIO_InitStruct.Alternate = GPIO_AF14_LTDC;
  HAL_GPIO_Init(GPIOC, &GPIO_InitStruct);

  /*Configure GPIO pin : I2C3_SDA_Pin */
  GPIO_InitStruct.Pin = I2C3_SDA_Pin;
  GPIO_InitStruct.Mode = GPIO_MODE_AF_OD;
  GPIO_InitStruct.Pull = GPIO_NOPULL;
  GPIO_InitStruct.Speed = GPIO_SPEED_FREQ_LOW;
  GPIO_InitStruct.Alternate = GPIO_AF4_I2C3;
  HAL_GPIO_Init(I2C3_SDA_GPIO_Port, &GPIO_InitStruct);

  /*Configure GPIO pin : I2C3_SCL_Pin */
  GPIO_InitStruct.Pin = I2C3_SCL_Pin;
  GPIO_InitStruct.Mode = GPIO_MODE_AF_OD;
  GPIO_InitStruct.Pull = GPIO_NOPULL;
  GPIO_InitStruct.Speed = GPIO_SPEED_FREQ_LOW;
  GPIO_InitStruct.Alternate = GPIO_AF4_I2C3;
  HAL_GPIO_Init(I2C3_SCL_GPIO_Port, &GPIO_InitStruct);

  /*Configure GPIO pins : STLINK_RX_Pin STLINK_TX_Pin */
  GPIO_InitStruct.Pin = STLINK_RX_Pin|STLINK_TX_Pin;
  GPIO_InitStruct.Mode = GPIO_MODE_AF_PP;
  GPIO_InitStruct.Pull = GPIO_NOPULL;
  GPIO_InitStruct.Speed = GPIO_SPEED_FREQ_VERY_HIGH;
  GPIO_InitStruct.Alternate = GPIO_AF7_USART1;
  HAL_GPIO_Init(GPIOA, &GPIO_InitStruct);

  /*Configure GPIO pins : G7_Pin B2_Pin */
  GPIO_InitStruct.Pin = G7_Pin|B2_Pin;
  GPIO_InitStruct.Mode = GPIO_MODE_AF_PP;
  GPIO_InitStruct.Pull = GPIO_NOPULL;
  GPIO_InitStruct.Speed = GPIO_SPEED_FREQ_LOW;
  GPIO_InitStruct.Alternate = GPIO_AF14_LTDC;
  HAL_GPIO_Init(GPIOD, &GPIO_InitStruct);

  /*Configure GPIO pins : G3_Pin B4_Pin */
  GPIO_InitStruct.Pin = G3_Pin|B4_Pin;
  GPIO_InitStruct.Mode = GPIO_MODE_AF_PP;
  GPIO_InitStruct.Pull = GPIO_NOPULL;
  GPIO_InitStruct.Speed = GPIO_SPEED_FREQ_LOW;
  GPIO_InitStruct.Alternate = GPIO_AF9_LTDC;
  HAL_GPIO_Init(GPIOG, &GPIO_InitStruct);

  /*Configure GPIO pins : LD3_Pin LD4_Pin */
  GPIO_InitStruct.Pin = LD3_Pin|LD4_Pin;
  GPIO_InitStruct.Mode = GPIO_MODE_OUTPUT_PP;
  GPIO_InitStruct.Pull = GPIO_NOPULL;
  GPIO_InitStruct.Speed = GPIO_SPEED_FREQ_LOW;
  HAL_GPIO_Init(GPIOG, &GPIO_InitStruct);

  /*Configure GPIO pins : SDCKE1_Pin SDNE1_Pin */
  GPIO_InitStruct.Pin = SDCKE1_Pin|SDNE1_Pin;
  GPIO_InitStruct.Mode = GPIO_MODE_AF_PP;
  GPIO_InitStruct.Pull = GPIO_NOPULL;
  GPIO_InitStruct.Speed = GPIO_SPEED_FREQ_VERY_HIGH;
  GPIO_InitStruct.Alternate = GPIO_AF12_FMC;
  HAL_GPIO_Init(GPIOB, &GPIO_InitStruct);

}

void HAL_TIM_PeriodElapsedCallback(TIM_HandleTypeDef *htim)
{
  if (htim->Instance == TIM6)
  {
    HAL_IncTick();
  }
}

void Error_Handler(void)
{
  __disable_irq();
  while (1)
  {
  }
}
